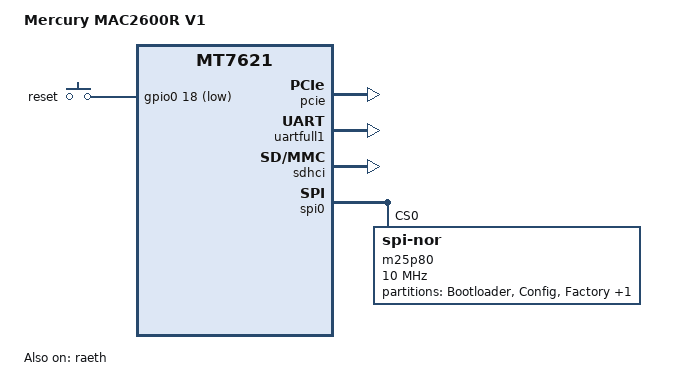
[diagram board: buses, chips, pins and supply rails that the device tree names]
/dts-v1/;

#include "mt7621.dtsi"
#include <dt-bindings/input/input.h>

/ {
	compatible = "mediatek,mac2600r", "mediatek,mt7621-soc";
	model = "Mercury MAC2600R V1";

	chosen {
		bootargs = "console=ttyS0,115200";
	};

	gpio-keys-polled {
		compatible = "gpio-keys-polled";
		#address-cells = <1>;
		#size-cells = <0>;
		poll-interval = <20>;

		reset {
			label = "reset";
			gpios = <&gpio0 18 1>;
			linux,code = <KEY_RESTART>;
		};
	};
};

&raeth {
	mac-address = [00 00 00 00 00 00];
	wan_at = "p0";
	gmac1-support = "rgmii-1";
	rgmii-mode-1 = "force-1000";
	gmac2-support = "rgmii-2";
	rgmii-mode-2 = "force-1000";
	gmac2-phy-address = <0>;
	gmac1_txq_num = <1>;
	gmac1_txq_txd_num = <1024>;
	gmac2_txq_num = <1>;
	gmac2_txq_txd_num = <1024>;
	num_rx_desc = <1024>;
	status = "okay";
};

&pcie {
	status = "okay";
};

&pinctrl {
	state_default: pinctrl0 {
		gpio {
			mtk,group = "i2c", "uart3";
			mtk,function = "gpio";
		};

		uart2 {
			mtk,group = "uart2";
			mtk,function = "uart2";
		};
	};
};

&uartfull1 {
	status = "okay";
};

&sdhci {
	status = "okay";

	pinctrl-names = "default";
	pinctrl-0 = <&sdhci_pins>;
};

&spi0 {
	status = "okay";

	m25p80@0 {
		#address-cells = <1>;
		#size-cells = <1>;
		compatible = "jedec,spi-nor";
		reg = <0>;
		spi-max-frequency = <10000000>;
		m25p,chunked-io = <32>;

		partition@0 {
			label = "Bootloader";
			reg = <0x0 0x30000>;
		};

		partition@30000 {
			label = "Config";
			reg = <0x30000 0x10000>;
		};

		partition@40000 {
			label = "Factory";
			reg = <0x40000 0x10000>;
		};

		partition@50000 {
			label = "firmware";
			reg = <0x50000 0xfb0000>;
		};
	};
};
